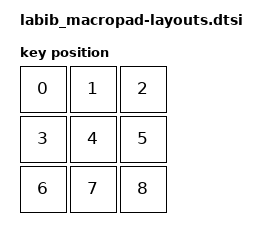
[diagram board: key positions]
#include <physical_layouts.dtsi>

/ {
    labib_macropad_layout: labib_macropad_layout {
        compatible = "zmk,physical-layout";
        display-name = "Default Layout";
        keys
            = <&key_physical_attrs 100 100   0   0 0 0 0>
            , <&key_physical_attrs 100 100 100   0 0 0 0>
            , <&key_physical_attrs 100 100 200   0 0 0 0>
            , <&key_physical_attrs 100 100   0 100 0 0 0>
            , <&key_physical_attrs 100 100 100 100 0 0 0>
            , <&key_physical_attrs 100 100 200 100 0 0 0>
            , <&key_physical_attrs 100 100   0 200 0 0 0>
            , <&key_physical_attrs 100 100 100 200 0 0 0>
            , <&key_physical_attrs 100 100 200 200 0 0 0>
            ;
    };
};
